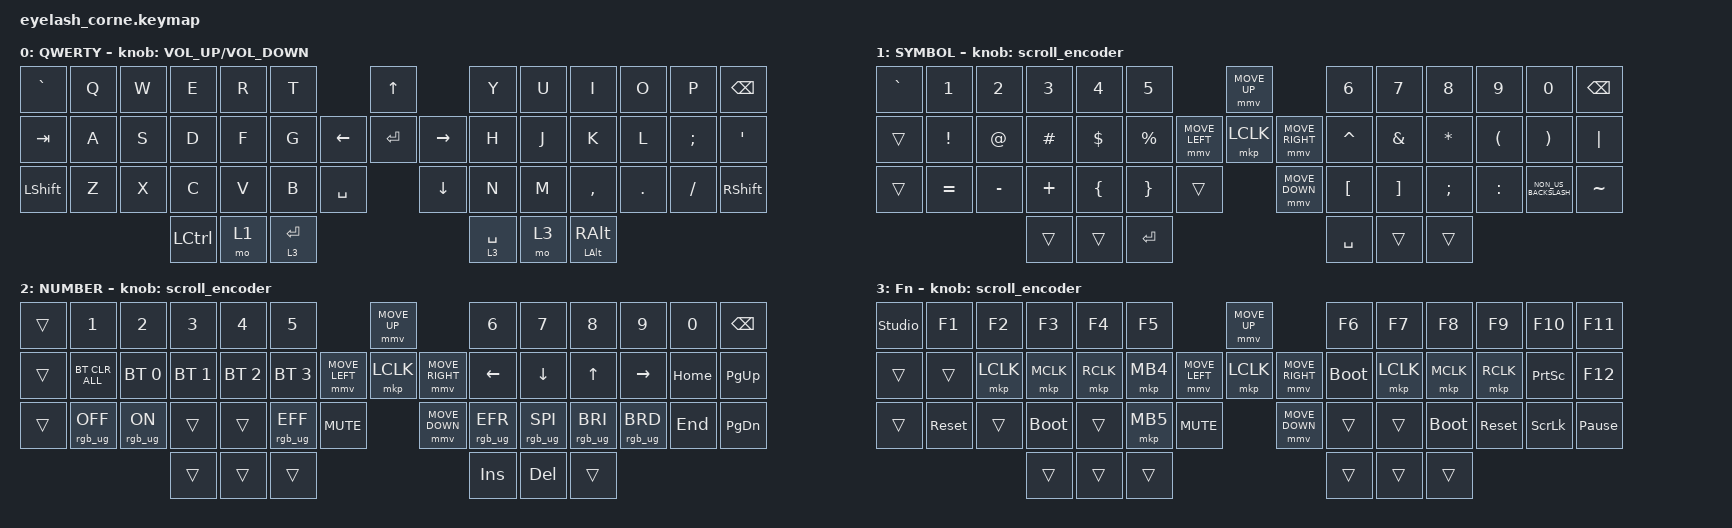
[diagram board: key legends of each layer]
#include <dt-bindings/zmk/mouse.h>
#include <input/processors.dtsi>
#include <behaviors.dtsi>
#include <dt-bindings/zmk/bt.h>
#include <dt-bindings/zmk/keys.h>
#include <dt-bindings/zmk/pointing.h>
#include <dt-bindings/zmk/pointing.h>
#include <dt-bindings/zmk/pointing.h>
#include <dt-bindings/zmk/rgb.h>

/*

   &mmv_input_listener {
       input-processors = <&zip_xy_scaler 2 1>;
   };

   &msc_input_listener {
       input-processors = <&zip_xy_scaler 2 1>;
   };

 */

#define ZMK_MOUSE_DEFAULT_MOVE_VAL 1200  // 600
#define ZMK_MOUSE_DEFAULT_SCRL_VAL 20    // 10

/ {
    behaviors {
        td0: td0 {
            compatible = "zmk,behavior-tap-dance";
            display-name = "Shift/Caps Lock Tap Dance";
            #binding-cells = <0>;
            bindings = <&kp LEFT_SHIFT>, <&kp CAPS>;
        };
    };

    rgb_encoder: rgb_encoder {
        compatible = "zmk,behavior-sensor-rotate";
        #sensor-binding-cells = <0>;
        bindings = <&rgb_ug RGB_BRI>, <&rgb_ug RGB_BRD>;
    };

    scroll_encoder: scroll_encoder {
        compatible = "zmk,behavior-sensor-rotate";
        #sensor-binding-cells = <0>;
        bindings = <&msc SCRL_DOWN>, <&msc SCRL_UP>;

        tap-ms = <30>;
    };

    keymap {
        compatible = "zmk,keymap";

        default_layer {
            display-name = "QWERTY";
            bindings = <
&kp GRAVE       &kp Q  &kp W  &kp E             &kp R  &kp T                               &kp UP                &kp Y        &kp U  &kp I                   &kp O    &kp P     &kp BSPC
&kp TAB         &kp A  &kp S  &kp D             &kp F  &kp G                     &kp LEFT  &kp ENTER  &kp RIGHT  &kp H        &kp J  &kp K                   &kp L    &kp SEMI  &kp SQT
&kp LEFT_SHIFT  &kp Z  &kp X  &kp C             &kp V  &kp B        &kp SPACE              &kp DOWN              &kp N        &kp M  &kp COMMA               &kp DOT  &kp FSLH  &kp RIGHT_SHIFT
                              &kp LEFT_CONTROL  &mo 1  &lt 3 ENTER                                               &lt 3 SPACE  &mo 3  &mt LEFT_ALT RIGHT_ALT
            >;

            sensor-bindings = <&inc_dec_kp C_VOLUME_UP C_VOLUME_DOWN>;
        };

        raise_layer {
            display-name = "SYMBOL";
            bindings = <
&kp GRAVE  &kp NUMBER_1     &kp NUMBER_2  &kp NUMBER_3  &kp NUMBER_4    &kp N5                                     &mmv MOVE_UP                     &kp NUMBER_6      &kp N7             &kp N8         &kp N9                &kp N0                 &kp BSPC
&trans     &kp EXCLAMATION  &kp AT_SIGN   &kp HASH      &kp DOLLAR      &kp PERCENT                &mmv MOVE_LEFT  &mkp LCLK       &mmv MOVE_RIGHT  &kp CARET         &kp AMPERSAND      &kp ASTERISK   &kp LEFT_PARENTHESIS  &kp RIGHT_PARENTHESIS  &kp PIPE
&trans     &kp EQUAL        &kp MINUS     &kp PLUS      &kp LEFT_BRACE  &kp RIGHT_BRACE  &trans                    &mmv MOVE_DOWN                   &kp LEFT_BRACKET  &kp RIGHT_BRACKET  &kp SEMICOLON  &kp COLON             &kp NON_US_BACKSLASH   &kp TILDE
                                          &trans        &trans          &kp ENTER                                                                   &kp SPACE         &trans             &trans
            >;

            sensor-bindings = <&scroll_encoder>;
        };

        lower_layer {
            display-name = "NUMBER";
            bindings = <
&trans  &kp N1           &kp N2          &kp N3        &kp N4        &kp N5                                         &mmv MOVE_UP                     &kp N6           &kp N7           &kp N8           &kp N9           &kp N0    &kp BSPC
&trans  &bt BT_CLR_ALL   &bt BT_SEL 0    &bt BT_SEL 1  &bt BT_SEL 2  &bt BT_SEL 3                   &mmv MOVE_LEFT  &mkp LCLK       &mmv MOVE_RIGHT  &kp LEFT         &kp DOWN         &kp UP           &kp RIGHT        &kp HOME  &kp PG_UP
&trans  &rgb_ug RGB_OFF  &rgb_ug RGB_ON  &trans        &trans        &rgb_ug RGB_EFF  &kp C_MUTE                    &mmv MOVE_DOWN                   &rgb_ug RGB_EFR  &rgb_ug RGB_SPI  &rgb_ug RGB_BRI  &rgb_ug RGB_BRD  &kp END   &kp PG_DN
                                         &trans        &trans        &trans                                                                          &kp INS          &kp DEL          &trans
            >;

            sensor-bindings = <&scroll_encoder>;
        };

        layer_3 {
            display-name = "Fn";
            bindings = <
&studio_unlock  &kp F1      &kp F2     &kp F3       &kp F4     &kp F5                                  &mmv MOVE_UP                     &kp F6       &kp F7     &kp F8       &kp F9      &kp F10          &kp F11
&trans          &trans      &mkp LCLK  &mkp MCLK    &mkp RCLK  &mkp MB4                &mmv MOVE_LEFT  &mkp LCLK       &mmv MOVE_RIGHT  &bootloader  &mkp LCLK  &mkp MCLK    &mkp RCLK   &kp PRINTSCREEN  &kp F12
&trans          &sys_reset  &trans     &bootloader  &trans     &mkp MB5  &kp C_MUTE                    &mmv MOVE_DOWN                   &trans       &trans     &bootloader  &sys_reset  &kp SCROLLLOCK   &kp PAUSE_BREAK
                                       &trans       &trans     &trans                                                                   &trans       &trans     &trans
            >;

            sensor-bindings = <&scroll_encoder>;
        };
    };
};
